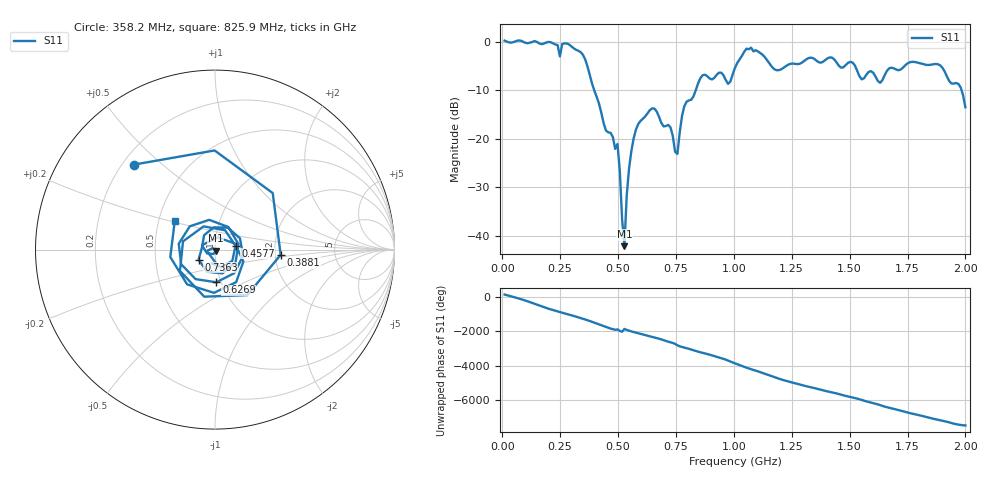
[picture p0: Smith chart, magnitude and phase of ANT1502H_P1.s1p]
!Created with skrf (http://scikit-rf.org).
# Hz S RI R 50.0
!freq ReS11 ImS11
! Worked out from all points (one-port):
!   201 points, 10 MHz to 2 GHz, reference 50 ohm
!   lowest |S11| = -42.1 dB at 527.4 MHz (marker M1), VSWR 1.02, Z = 50.5 - j0.64 ohm
!   |S11| at or under -10 dB: 397 MHz to 835.7 MHz (438.6 MHz wide, 71.2 % of centre); 1.983 GHz to end of sweep
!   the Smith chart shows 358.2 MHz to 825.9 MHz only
!   S11 on the Smith chart (normalised r, x): 358.2 MHz: 0.25, +0.41; 388.1 MHz: 2.15, -0.15; 457.8 MHz: 1.26, +0.06; 626.9 MHz: 0.95, -0.36; 736.4 MHz: 0.83, -0.09; 825.9 MHz: 0.61, +0.21
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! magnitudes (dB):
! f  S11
! 10 MHz  0.2
! 248.8 MHz  -3.0
! 258.8 MHz  -0.5
! 358.2 MHz  -3.7
! 388.1 MHz  -8.7
! 457.8 MHz  -18.7
! 497.6 MHz  -21.1
! 507.5 MHz  -26.6
! 527.4 MHz  -42.1
! 537.4 MHz  -31.7
! 557.2 MHz  -22.6
! 626.9 MHz  -14.8
! 736.4 MHz  -19.4
! 756.2 MHz  -23.1
! 786.1 MHz  -13.3
! 825.9 MHz  -11.3
! 865.7 MHz  -6.9
! 975.1 MHz  -8.7
! 1.005 GHz  -5.4
! 1.075 GHz  -1.2
! 1.184 GHz  -5.9
! 1.254 GHz  -4.5
! 1.502 GHz  -4.2
! 1.632 GHz  -8.5
! 1.751 GHz  -4.4
! 1.891 GHz  -4.9
! 1.98 GHz  -9.5
! 2 GHz  -13.5
